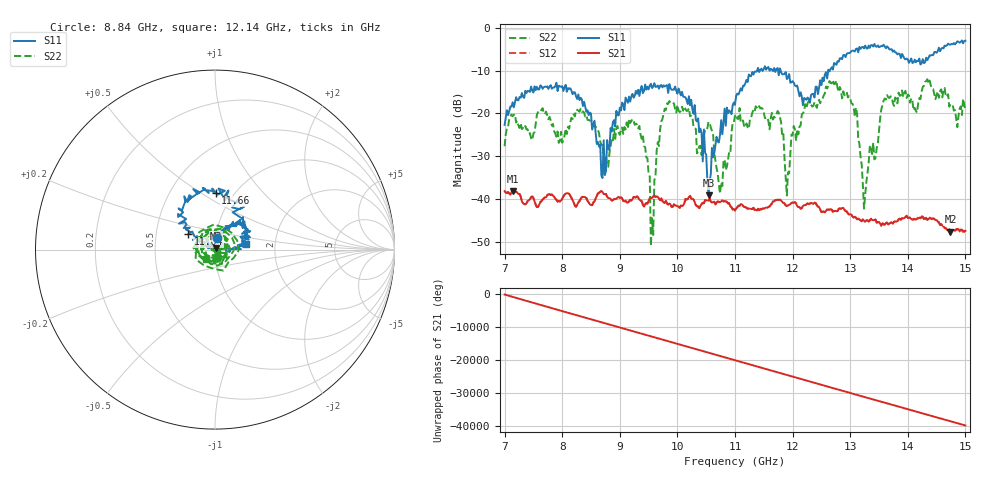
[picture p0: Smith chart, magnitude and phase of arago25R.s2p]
!Keysight Technologies,N5242B,MY47200105,A.14.00.23
!Date: Friday, April 26, 2024 11:31:11
!Correction: S11(C  2-Port  )
!S21(C  2-Port  )
!S12(C  2-Port  )
!S22(C  2-Port  )
!S2P File: Measurement: :
# Hz S  RI  R 50
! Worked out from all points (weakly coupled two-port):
!   401 points, 7 GHz to 15 GHz, reference 50 ohm
!   highest |S21| = -38.17 dB at 7.14 GHz (marker M1); lowest = -47.7 dB at 14.74 GHz (marker M2)
!   lowest |S11| = -39.2 dB at 10.54 GHz (marker M3), VSWR 1.02, Z = 50.7 + j0.872 ohm
!   |S11| at or under -10 dB: start of sweep to 11.38 GHz; 11.41438 GHz to 11.43155 GHz (17.17 MHz wide, 0.15 % of centre); 11.79 GHz to 12.62 GHz (824.1 MHz wide, 6.75 % of centre) (the widest 3 of 8)
!   |S22| runs from -51.1 to -12.0 dB; largest |S21 - S12| = 0.00022
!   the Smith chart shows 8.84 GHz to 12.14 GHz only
!   S11 on the Smith chart (normalised r, x): 8.84 GHz: 1.01, +0.14; 11.04 GHz: 0.73, +0.13; 11.66 GHz: 0.83, +0.58; 12.14 GHz: 1.42, +0.09
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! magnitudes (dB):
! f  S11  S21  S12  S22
! 7 GHz  -22.7  -38.2  -38.2  -27.7
! 7.14 GHz  -17.4  -38.2  -38.2  -20.6
! 8.34 GHz  -16.7  -39.6  -39.6  -19.6
! 8.72 GHz  -26.3  -38.8  -38.9  -30.6
! 8.84 GHz  -23.4  -40.0  -40.0  -27.7
! 9.3 GHz  -15.4  -39.4  -39.4  -22.6
! 9.58 GHz  -13.7  -39.5  -39.5  -48.5
! 9.68 GHz  -14.2  -39.9  -39.9  -27.6
! 10.26 GHz  -19.1  -40.0  -40.0  -20.7
! 10.54 GHz  -39.2  -40.4  -40.4  -22.0
! 10.74 GHz  -25.0  -40.8  -40.8  -38.8
! 11 GHz  -18.0  -42.8  -42.7  -20.5
! 11.04 GHz  -15.3  -42.0  -42.0  -21.2
! 11.66 GHz  -10.1  -40.6  -40.6  -21.4
! 11.9 GHz  -11.9  -41.6  -41.7  -39.2
! 12.14 GHz  -15.0  -42.2  -42.3  -22.8
! 12.34 GHz  -15.4  -41.0  -41.1  -18.4
! 12.96 GHz  -5.9  -43.4  -43.4  -16.2
! 13.26 GHz  -4.1  -45.4  -45.2  -39.3
! 13.68 GHz  -5.0  -45.8  -45.8  -16.4
! 14.74 GHz  -3.9  -47.7  -47.4  -17.8
! 15 GHz  -2.9  -47.5  -47.4  -19.3
